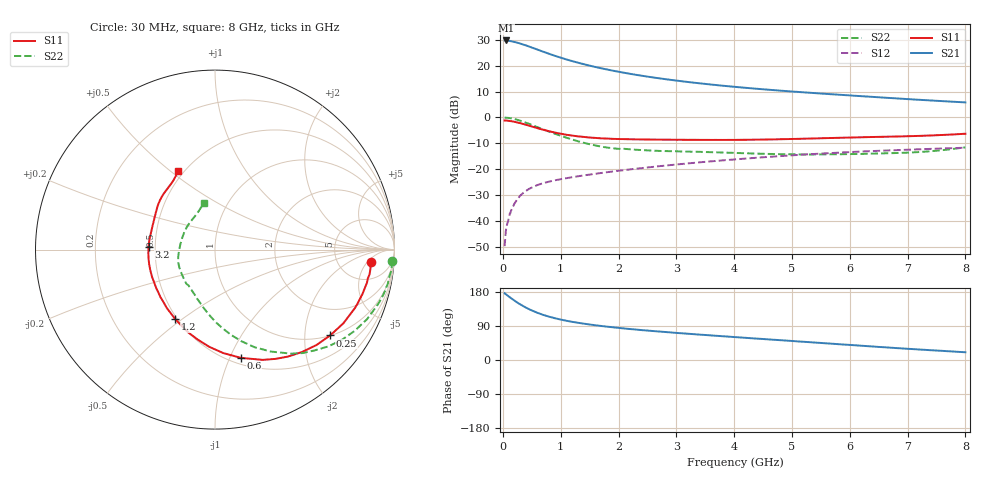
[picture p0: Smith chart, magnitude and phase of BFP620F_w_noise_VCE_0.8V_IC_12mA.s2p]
! Infineon Technologies  Discrete & RF Semiconductors
! BFP620F
! VCE =  0.8 V,  IC =  12 mA
! Common Emitter S-Parameters:  Dec 2014
# GHz  S  MA  R  50
!  f  S11  S21  S12  S22
! GHz  MAG  ANG  MAG  ANG  MAG  ANG  MAG  ANG
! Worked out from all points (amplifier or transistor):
!   95 points, 30 MHz to 8 GHz, reference 50 ohm
!   highest |S21| = 29.7 dB at 50 MHz (marker M1)
!   |S21| within 3 dB of that: start of sweep to 533.7 MHz
!   unconditionally stable (mu >= 1): 3.708 GHz to end of sweep
!   at 300 MHz: K = 0.19, MSG = 29.3 dB, |S12| = -30.1 dB
!   at 3.3 GHz: K = 0.98, MSG = 15.5 dB, |S12| = -17.5 dB
!   at 8 GHz: K = 1.08, MAG = 7.0 dB, |S12| = -11.7 dB
!   lowest NFmin = 0.64 dB at 450 MHz
!   S11 on the Smith chart (normalised r, x): 30 MHz: 11, -7; 250 MHz: 1.01, -2.68; 600 MHz: 0.56, -1.10; 1.2 GHz: 0.49, -0.47; 3.2 GHz: 0.46, +0.02; 8 GHz: 0.46, +0.53
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0.03  0.8742 -4.6  30.41 176.2  0.0033 91.5  0.9874 -3.6
0.05  0.8724 -7.8  30.48 173.8  0.0064 80.0  0.99 -6.2
0.08  0.8666 -12.3  30.32 170.2  0.0093 83.5  0.9819 -10.0
0.14  0.8481 -21.3  29.46 163.2  0.0159 80.0  0.9617 -17.5
0.25  0.8003 -36.7  27.59 151.6  0.0264 72.5  0.9002 -30.2
0.3  0.7762 -43.2  26.61 146.9  0.0311 69.6  0.8666 -35.6
0.4  0.7214 -55.7  24.47 138.2  0.0383 64.1  0.7898 -45.3
0.5  0.6695 -66.6  22.28 130.8  0.0445 60.0  0.7183 -53.8
0.6  0.62 -76.6  20.27 124.4  0.0499 57.3  0.6483 -61.2
0.7  0.5779 -85.5  18.46 118.9  0.0542 54.7  0.5873 -67.9
0.9  0.5107 -100.8  15.43 110.2  0.0614 51.9  0.4847 -79.2
1  0.4862 -107.6  14.2 106.7  0.0644 51.1  0.4436 -84.1
1.2  0.4469 -119.6  12.19 100.7  0.0705 50.1  0.376 -93.4
1.4  0.4213 -129.8  10.63 95.9  0.0764 49.5  0.3249 -102.2
1.7  0.3956 -143.0  8.871 89.8  0.085 49.0  0.2736 -114.9
2  0.3837 -153.7  7.604 84.8  0.0938 48.7  0.248 -126.6
2.7  0.3736 -172.4  5.69 75.2  0.1148 47.0  0.2265 -146.7
3.2  0.3701 177.5  4.826 69.3  0.13 45.6  0.2196 -156.8
4.1  0.3702 162.3  3.81 59.5  0.1579 41.9  0.2056 -172.1
5.4  0.3943 145.6  2.943 46.0  0.198 34.4  0.1938 162.1
6.7  0.4265 130.2  2.369 32.6  0.2319 25.6  0.2046 134.7
8  0.4855 115.2  1.949 20.4  0.2609 16.8  0.2653 103.9
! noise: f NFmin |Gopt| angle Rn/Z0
0.45  0.64  0.22  8  0.21
0.9  0.71  0.2  19  0.18
1.5  0.76  0.19  21  0.13
1.8  0.79  0.19  23  0.11
1.9  0.8  0.14  38  0.14
2.4  0.84  0.12  53  0.12
3.5  0.93  0.11  76  0.12
5.5  1.1  0.1  193  0.09
6  1.14  0.1  221  0.14
